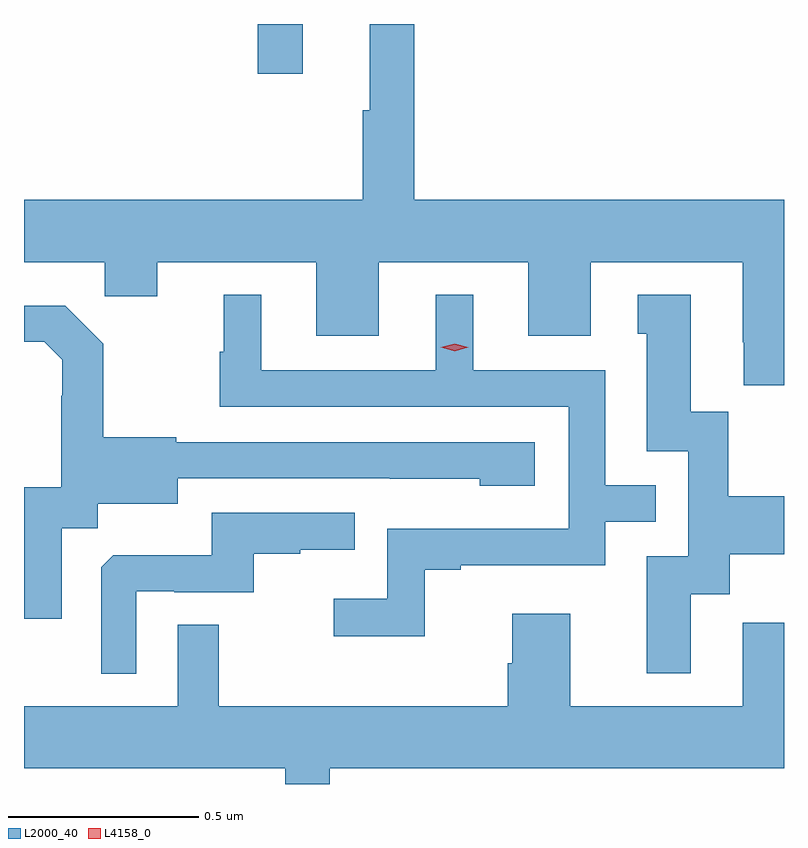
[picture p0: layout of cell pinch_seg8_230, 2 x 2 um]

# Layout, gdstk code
import gdstk
lib = gdstk.Library(unit=1e-6, precision=1e-09)
def R(c, l, rs):  # rectangles x0, y0, x1, y1
    for r in rs: c.add(gdstk.rectangle(r[:2], r[2:], *l))
def P(c, l, *ps):  # polygons
    for p in ps: c.add(gdstk.Polygon(p, *l))
L2000_40 = (2000, 40)
L4158_0 = (4158, 0)

pinch_seg8_230 = lib.new_cell('pinch_seg8_230')
R(pinch_seg8_230, L2000_40, [(676.321,1111.668,676.439,1111.799)])
P(pinch_seg8_230, L2000_40, [(676.733,1111.799),(676.616,1111.799),(676.616,1111.572),(676.597,1111.572),(676.597,1111.336),(675.706,1111.336),(675.706,1111.172),(675.919,1111.172),(675.919,1111.082),(676.057,1111.082),(676.057,1111.172),(676.475,1111.172),(676.475,1110.978),(676.639,1110.978),(676.639,1111.172),(677.033,1111.172),(677.033,1110.978),(677.197,1110.978),(677.197,1111.172),(677.597,1111.172),(677.597,1110.961),(677.6,1110.961),(677.6,1110.849),(677.706,1110.849),(677.706,1111.336),(676.733,1111.336)],
  [(677.461,1110.298),(677.563,1110.298),(677.563,1110.404),(677.706,1110.404),(677.706,1110.556),(677.559,1110.556),(677.559,1110.779),(677.461,1110.779),(677.461,1111.087),(677.321,1111.087),(677.321,1110.984),(677.345,1110.984),(677.345,1110.675),(677.454,1110.675),(677.454,1110.399),(677.345,1110.399),(677.345,1110.09),(677.461,1110.09)],
  [(676.761,1110.363),(676.855,1110.363),(676.855,1110.375),(677.235,1110.375),(677.235,1110.489),(677.369,1110.489),(677.369,1110.585),(677.235,1110.585),(677.235,1110.888),(676.888,1110.888),(676.888,1111.087),(676.79,1111.087),(676.79,1110.888),(676.33,1110.888),(676.33,1111.087),(676.232,1111.087),(676.232,1110.936),(676.221,1110.936),(676.221,1110.792),(677.139,1110.792),(677.139,1110.471),(676.662,1110.471),(676.662,1110.286),(676.521,1110.286),(676.521,1110.188),(676.761,1110.188)],
  [(675.805,1110.472),(675.9,1110.472),(675.9,1110.536),(676.111,1110.536),(676.111,1110.603),(676.669,1110.603),(676.669,1110.602),(676.905,1110.602),(676.905,1110.584),(677.05,1110.584),(677.05,1110.699),(676.107,1110.699),(676.107,1110.712),(675.915,1110.712),(675.915,1110.957),(675.815,1111.057),(675.706,1111.057),(675.706,1110.963),(675.759,1110.963),(675.806,1110.916),(675.806,1110.821),(675.804,1110.821),(675.804,1110.58),(675.706,1110.58),(675.706,1110.234),(675.805,1110.234)],
  [(676.002,1110.306),(676.102,1110.306),(676.102,1110.303),(676.31,1110.303),(676.31,1110.405),(676.433,1110.405),(676.433,1110.416),(676.577,1110.416),(676.577,1110.513),(676.2,1110.513),(676.2,1110.401),(675.941,1110.401),(675.909,1110.369),(675.909,1110.089),(676.002,1110.089)],
  [(676.511,1109.84),(677.706,1109.84),(677.706,1110.223),(677.597,1110.223),(677.597,1110.004),(677.143,1110.004),(677.143,1110.247),(676.991,1110.247),(676.991,1110.117),(676.979,1110.117),(676.979,1110.004),(676.219,1110.004),(676.219,1110.218),(676.11,1110.218),(676.11,1110.004),(675.706,1110.004),(675.706,1109.84),(676.394,1109.84),(676.394,1109.799),(676.511,1109.799)])
P(pinch_seg8_230, L4158_0, [(676.839,1110.938),(676.803,1110.948),(676.803,1110.948),(676.803,1110.948),(676.839,1110.958),(676.875,1110.948),(676.875,1110.948),(676.875,1110.948)])

lib.write_gds('pinch_seg8_230.gds')
